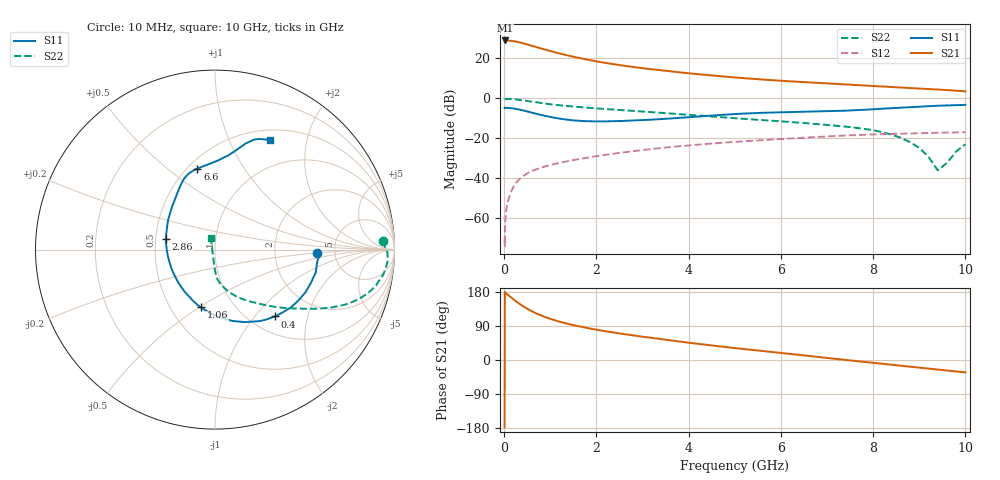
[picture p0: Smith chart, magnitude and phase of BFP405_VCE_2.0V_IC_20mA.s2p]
! Infineon Technologies  Discrete & RF Semiconductors
! BFP405
! VCE =  2.0 V,  IC =  20 mA
! Common Emitter S-Parameters:  Jan 2016
# GHz  S  MA  R  50
!  f  S11  S21  S12  S22
! GHz  MAG  ANG  MAG  ANG  MAG  ANG  MAG  ANG
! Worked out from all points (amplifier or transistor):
!   233 points, 10 MHz to 10 GHz, reference 50 ohm
!   highest |S21| = 28.9 dB at 20 MHz (marker M1)
!   |S21| within 3 dB of that: start of sweep to 652 MHz
!   unconditionally stable (mu >= 1): start of sweep to 31.26 MHz; 1.673 GHz to end of sweep
!   at 200 MHz: K = 0.27, MSG = 36.4 dB, |S12| = -44.3 dB
!   at 1.74 GHz: K = 1.02, MAG = 23.9 dB, |S12| = -30.0 dB
!   at 10 GHz: K = 1.41, MAG = 6.4 dB, |S12| = -17.0 dB
!   S11 on the Smith chart (normalised r, x): 10 MHz: 3.64, -0.20; 400 MHz: 1.29, -1.28; 1.06 GHz: 0.70, -0.51; 2.86 GHz: 0.57, +0.08; 6.6 GHz: 0.56, +0.64; 10 GHz: 0.62, +1.43
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0.01  0.5702 -1.9  27.81 -177.7  0.0003 -66.5  0.9361 2.9
0.015  0.5771 -2.3  27.83 179.9  0.0002 106.3  0.9431 1.7
0.02  0.5841 -2.7  27.9 177.6  0.0007 109.4  0.9506 0.5
0.1  0.5753 -12.7  27.71 169.8  0.0031 86.2  0.9638 -3.9
0.22  0.5516 -27.6  26.58 158.2  0.0066 78.9  0.9399 -9.4
0.3  0.5316 -37.1  25.52 151.0  0.0087 75.7  0.9199 -12.5
0.4  0.5008 -48.0  23.95 142.6  0.0111 72.2  0.8846 -15.9
0.5  0.4694 -58.1  22.27 135.2  0.0132 69.5  0.8505 -18.7
0.7  0.4092 -76.3  19.04 122.7  0.0168 65.6  0.7857 -23.0
0.9  0.3619 -92.1  16.35 112.7  0.0199 63.5  0.7312 -26.0
1.06  0.3307 -103.8  14.55 106.2  0.0222 62.3  0.6956 -28.0
1.32  0.2956 -121.1  12.21 97.2  0.0259 61.2  0.6474 -30.6
1.68  0.2709 -142.5  9.88 87.3  0.0309 60.2  0.5956 -33.6
2.18  0.2638 -167.3  7.723 76.2  0.0382 58.6  0.5407 -37.3
2.86  0.2808 167.4  5.933 63.9  0.0486 55.3  0.4787 -42.2
3.4  0.3018 151.1  4.999 55.1  0.057 51.8  0.4321 -46.4
5.1  0.409 117.6  3.244 30.2  0.0826 39.3  0.3109 -61.7
6.6  0.4621 102.3  2.493 10.8  0.1049 27.7  0.2355 -73.9
6.8  0.4664 99.3  2.413 8.2  0.1079 25.9  0.2254 -75.5
8.4  0.5642 78.2  1.894 -12.5  0.1286 10.9  0.1232 -89.2
9.4  0.6502 70.5  1.657 -25.2  0.1373 2.2  0.0158 -151.1
10  0.6835 63.4  1.488 -32.8  0.1414 -2.3  0.0708 110.6
